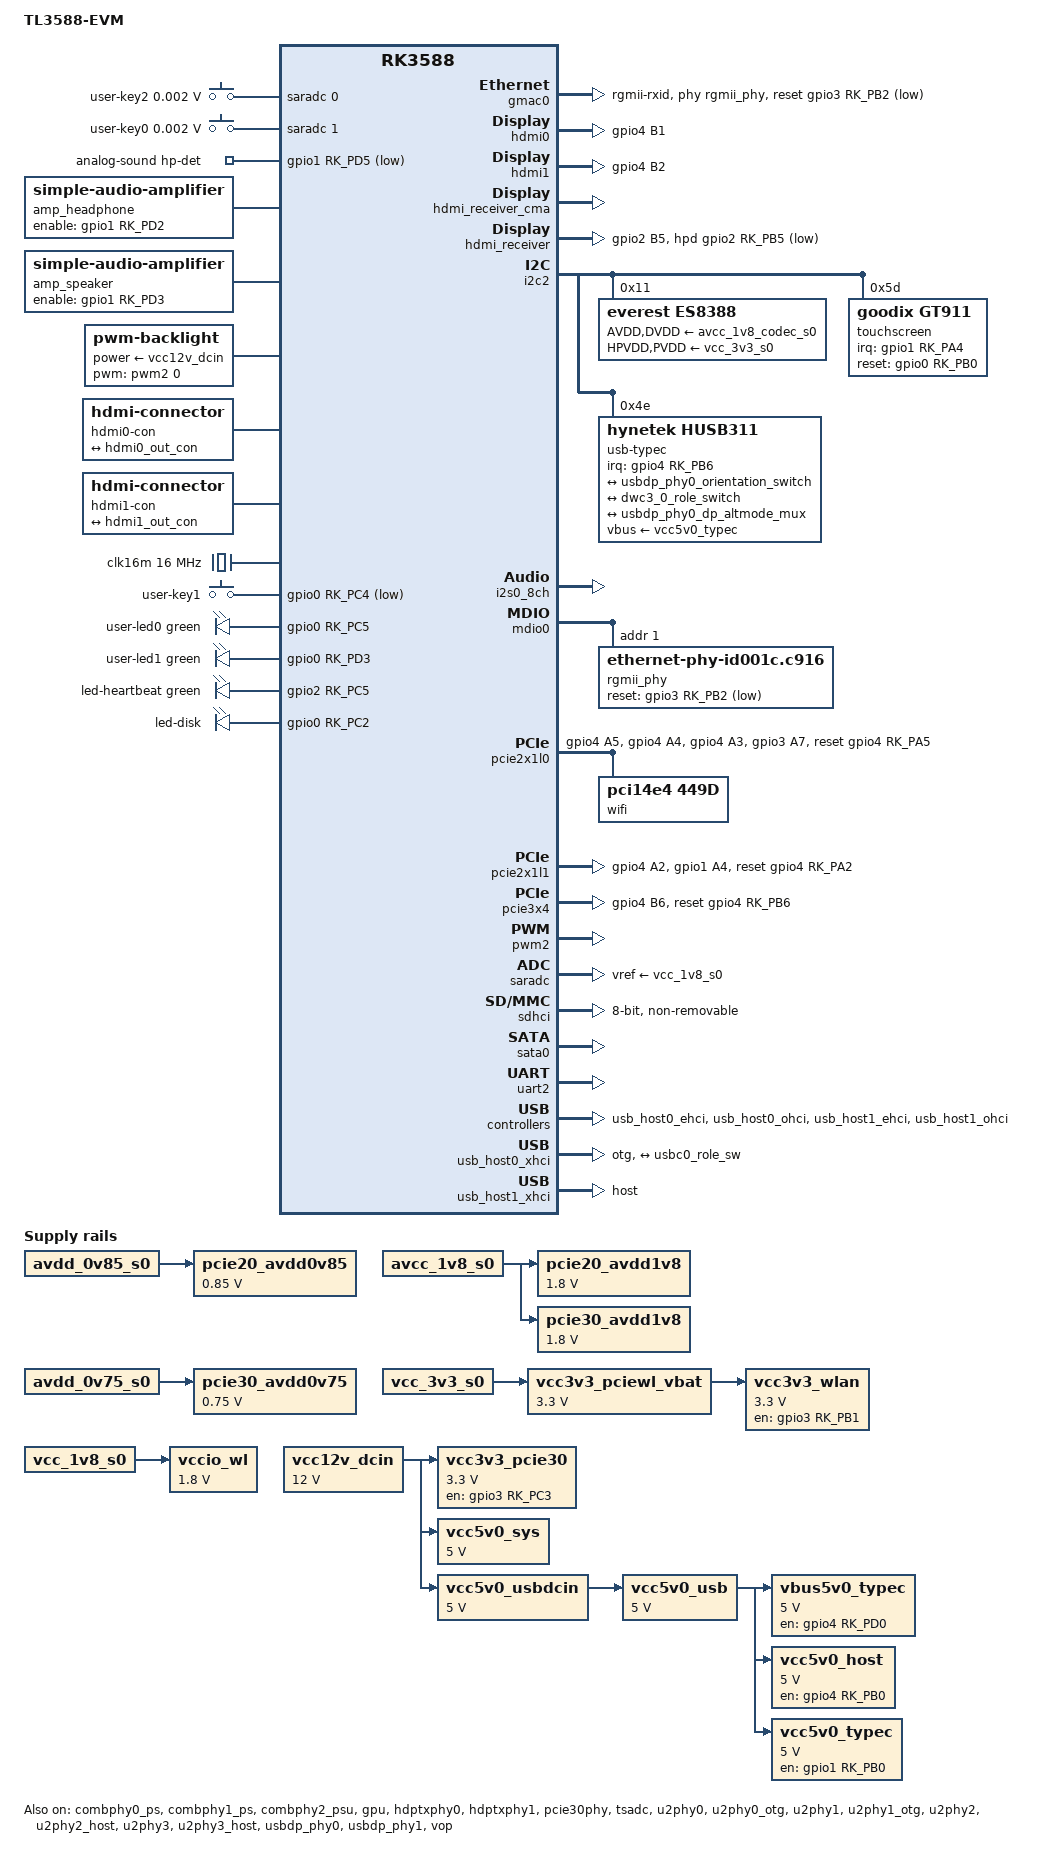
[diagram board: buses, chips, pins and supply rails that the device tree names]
// SPDX-License-Identifier: (GPL-2.0+ OR MIT)
/*
 * Copyright (c) 2021 Rockchip Electronics Co., Ltd.
 *
 */

/dts-v1/;

#include <dt-bindings/gpio/gpio.h>
#include <dt-bindings/input/input.h>
#include <dt-bindings/pinctrl/rockchip.h>
#include <dt-bindings/soc/rockchip,vop2.h>
#include <dt-bindings/usb/pd.h>
#include <dt-bindings/leds/common.h>
#include "rk3588.dtsi"

/ {
	model = "TL3588-EVM";
	compatible = "ncti,tl3588-evm", "rockchip,rk3588";

	aliases {
		ethernet0 = &gmac0;
		ethernet1 = &gmac1;
		mmc0 = &sdhci;
		serial0 = &uart0;
		serial2 = &uart2;
		serial3 = &uart3;
		serial5 = &uart5;
		serial7 = &uart7;
		serial8 = &uart8;
		serial9 = &uart9;
	};

	chosen {
		stdout-path = "serial2:1500000n8";
	};

	adc-keys1 {
		compatible = "adc-keys";
		io-channels = <&saradc 0>;
		io-channel-names = "buttons";
		keyup-threshold-microvolt = <1800000>;
		poll-interval = <100>;

		user-key2 {
			label = "user-key2";
			linux,code = <KEY_PROG3>;
			press-threshold-microvolt = <1750>;
		};
	};

	adc-keys2 {
		compatible = "adc-keys";
		io-channels = <&saradc 1>;
		io-channel-names = "buttons";
		keyup-threshold-microvolt = <1800000>;
		poll-interval = <100>;

		user-key0 {
			label = "user-key0";
			linux,code = <KEY_PROG1>;
			press-threshold-microvolt = <1750>;
		};
	};

	analog-sound {
		compatible = "simple-audio-card";
		pinctrl-names = "default";
		pinctrl-0 = <&hp_detect>;
		simple-audio-card,name = "RK3588 EVB1 Audio";
		simple-audio-card,aux-devs = <&amp_headphone>, <&amp_speaker>;
		simple-audio-card,bitclock-master = <&masterdai>;
		simple-audio-card,format = "i2s";
		simple-audio-card,frame-master = <&masterdai>;
		simple-audio-card,hp-det-gpios = <&gpio1 RK_PD5 GPIO_ACTIVE_LOW>;
		simple-audio-card,mclk-fs = <256>;
		simple-audio-card,pin-switches = "Headphones", "Speaker";
		simple-audio-card,routing =
			"Speaker Amplifier INL", "LOUT2",
			"Speaker Amplifier INR", "ROUT2",
			"Speaker", "Speaker Amplifier OUTL",
			"Speaker", "Speaker Amplifier OUTR",
			"Headphones Amplifier INL", "LOUT1",
			"Headphones Amplifier INR", "ROUT1",
			"Headphones", "Headphones Amplifier OUTL",
			"Headphones", "Headphones Amplifier OUTR",
			"LINPUT1", "Onboard Microphone",
			"RINPUT1", "Onboard Microphone",
			"LINPUT2", "Microphone Jack",
			"RINPUT2", "Microphone Jack";
		simple-audio-card,widgets =
			"Microphone", "Microphone Jack",
			"Microphone", "Onboard Microphone",
			"Headphone", "Headphones",
			"Speaker", "Speaker";

		simple-audio-card,cpu {
			sound-dai = <&i2s0_8ch>;
		};

		masterdai: simple-audio-card,codec {
			sound-dai = <&es8388>;
			system-clock-frequency = <12288000>;
		};
	};

	amp_headphone: headphone-amplifier {
		compatible = "simple-audio-amplifier";
		enable-gpios = <&gpio1 RK_PD2 GPIO_ACTIVE_HIGH>;
		pinctrl-names = "default";
		pinctrl-0 = <&headphone_amplifier_en>;
		sound-name-prefix = "Headphones Amplifier";
	};

	amp_speaker: speaker-amplifier {
		compatible = "simple-audio-amplifier";
		enable-gpios = <&gpio1 RK_PD3 GPIO_ACTIVE_HIGH>;
		pinctrl-names = "default";
		pinctrl-0 = <&speaker_amplifier_en>;
		sound-name-prefix = "Speaker Amplifier";
	};

	backlight: backlight {
		compatible = "pwm-backlight";
		power-supply = <&vcc12v_dcin>;
		pwms = <&pwm2 0 25000 0>;
	};

	hdmi0-con {
		compatible = "hdmi-connector";
		type = "a";

		port {
			hdmi0_con_in: endpoint {
				remote-endpoint = <&hdmi0_out_con>;
			};
		};
	};

	hdmi1-con {
		compatible = "hdmi-connector";
		type = "a";

		port {
			hdmi1_con_in: endpoint {
				remote-endpoint = <&hdmi1_out_con>;
			};
		};
	};

	pcie20_avdd0v85: regulator-pcie20-avdd0v85 {
		compatible = "regulator-fixed";
		regulator-name = "pcie20_avdd0v85";
		regulator-always-on;
		regulator-boot-on;
		regulator-min-microvolt = <850000>;
		regulator-max-microvolt = <850000>;
		vin-supply = <&avdd_0v85_s0>;
	};

	pcie20_avdd1v8: regulator-pcie20-avdd1v8 {
		compatible = "regulator-fixed";
		regulator-name = "pcie20_avdd1v8";
		regulator-always-on;
		regulator-boot-on;
		regulator-min-microvolt = <1800000>;
		regulator-max-microvolt = <1800000>;
		vin-supply = <&avcc_1v8_s0>;
	};

	pcie30_avdd0v75: regulator-pcie30-avdd0v75 {
		compatible = "regulator-fixed";
		regulator-name = "pcie30_avdd0v75";
		regulator-always-on;
		regulator-boot-on;
		regulator-min-microvolt = <750000>;
		regulator-max-microvolt = <750000>;
		vin-supply = <&avdd_0v75_s0>;
	};

	pcie30_avdd1v8: regulator-pcie30-avdd1v8 {
		compatible = "regulator-fixed";
		regulator-name = "pcie30_avdd1v8";
		regulator-always-on;
		regulator-boot-on;
		regulator-min-microvolt = <1800000>;
		regulator-max-microvolt = <1800000>;
		vin-supply = <&avcc_1v8_s0>;
	};

	vbus5v0_typec: regulator-vbus5v0-typec {
		compatible = "regulator-fixed";
		enable-active-high;
		gpio = <&gpio4 RK_PD0 GPIO_ACTIVE_HIGH>;
		pinctrl-names = "default";
		pinctrl-0 = <&typec5v_pwren>;
		regulator-name = "vbus5v0_typec";
		regulator-min-microvolt = <5000000>;
		regulator-max-microvolt = <5000000>;
		vin-supply = <&vcc5v0_usb>;
	};

	vcc12v_dcin: regulator-vcc12v-dcin {
		compatible = "regulator-fixed";
		regulator-name = "vcc12v_dcin";
		regulator-always-on;
		regulator-boot-on;
		regulator-min-microvolt = <12000000>;
		regulator-max-microvolt = <12000000>;
	};

	vcc3v3_pcie30: regulator-vcc3v3-pcie30 {
		compatible = "regulator-fixed";
		regulator-name = "vcc3v3_pcie30";
		regulator-min-microvolt = <3300000>;
		regulator-max-microvolt = <3300000>;
		enable-active-high;
		gpios = <&gpio3 RK_PC3 GPIO_ACTIVE_HIGH>;
		startup-delay-us = <5000>;
		vin-supply = <&vcc12v_dcin>;
		pinctrl-names = "default";
		pinctrl-0 = <&vcc3v3_pcie30_en>;
	};

	vcc3v3_pciewl_vbat: regulator-vcc3v3-pciewl-vbat {
		compatible = "regulator-fixed";
		regulator-always-on;
		regulator-boot-on;
		regulator-min-microvolt = <3300000>;
		regulator-max-microvolt = <3300000>;
		regulator-name = "wlan-vbat";
		vin-supply = <&vcc_3v3_s0>;
	};

	vcc3v3_wlan: regulator-vcc3v3-wlan {
		compatible = "regulator-fixed";
		enable-active-high;
		gpios = <&gpio3 RK_PB1 GPIO_ACTIVE_HIGH>;
		pinctrl-names = "default";
		pinctrl-0 = <&wifi_pwren>;
		regulator-min-microvolt = <3300000>;
		regulator-max-microvolt = <3300000>;
		regulator-name = "wlan-en";
		vin-supply = <&vcc3v3_pciewl_vbat>;
	};

	vcc5v0_host: regulator-vcc5v0-host {
		compatible = "regulator-fixed";
		regulator-name = "vcc5v0_host";
		regulator-boot-on;
		regulator-always-on;
		regulator-min-microvolt = <5000000>;
		regulator-max-microvolt = <5000000>;
		enable-active-high;
		gpio = <&gpio4 RK_PB0 GPIO_ACTIVE_HIGH>;
		pinctrl-names = "default";
		pinctrl-0 = <&vcc5v0_host_en>;
		vin-supply = <&vcc5v0_usb>;
	};

	clk16m: clk16m {
		compatible = "fixed-clock";
		#clock-cells = <0>;
		clock-frequency = <16000000>;
	};

	gpio-keys {
		compatible = "gpio-keys";
		pinctrl-names = "default";
		pinctrl-0 = <&user_key_pin>;

		user-key1 {
			label = "user-key1";
			linux,code = <KEY_PROG2>;
			gpios = <&gpio0 RK_PC4 GPIO_ACTIVE_LOW>;
		};
	};

	leds {
		compatible = "gpio-leds";

		user-led0 {
			function = LED_FUNCTION_INDICATOR;
			color = <LED_COLOR_ID_GREEN>;
			gpios = <&gpio0 RK_PC5 GPIO_ACTIVE_HIGH>;
			pinctrl-names = "default";
			pinctrl-0 = <&user_led0_pin>;
			default-state = "off";
		};

		user-led1 {
			function = LED_FUNCTION_INDICATOR;
			color = <LED_COLOR_ID_GREEN>;
			gpios = <&gpio0 RK_PD3 GPIO_ACTIVE_HIGH>;
			pinctrl-names = "default";
			pinctrl-0 = <&user_led1_pin>;
			default-state = "off";
		};

		led-heartbeat {
			function = LED_FUNCTION_HEARTBEAT;
			color = <LED_COLOR_ID_GREEN>;
			gpios = <&gpio2 RK_PC5 GPIO_ACTIVE_HIGH>;
			linux,default-trigger = "heartbeat";
		};

		led-disk {
			function = LED_FUNCTION_DISK;
			gpios = <&gpio0 RK_PC2 GPIO_ACTIVE_HIGH>;
			linux,default-trigger = "mmc0";
		};
	};

	vcc5v0_typec: regulator-vcc5v0-typec {
		compatible = "regulator-fixed";
		regulator-name = "vcc5v0_typec";
		regulator-min-microvolt = <5000000>;
		regulator-max-microvolt = <5000000>;
		enable-active-high;
		gpio = <&gpio1 RK_PB0 GPIO_ACTIVE_HIGH>;
		vin-supply = <&vcc5v0_usb>;
		pinctrl-names = "default";
		pinctrl-0 = <&vcc5v0_typec_enable>;
	};

	vcc5v0_sys: regulator-vcc5v0-sys {
		compatible = "regulator-fixed";
		regulator-name = "vcc5v0_sys";
		regulator-always-on;
		regulator-boot-on;
		regulator-min-microvolt = <5000000>;
		regulator-max-microvolt = <5000000>;
		vin-supply = <&vcc12v_dcin>;
	};

	vcc5v0_usbdcin: regulator-vcc5v0-usbdcin {
		compatible = "regulator-fixed";
		regulator-name = "vcc5v0_usbdcin";
		regulator-always-on;
		regulator-boot-on;
		regulator-min-microvolt = <5000000>;
		regulator-max-microvolt = <5000000>;
		vin-supply = <&vcc12v_dcin>;
	};

	vcc5v0_usb: regulator-vcc5v0-usb {
		compatible = "regulator-fixed";
		regulator-name = "vcc5v0_usb";
		regulator-always-on;
		regulator-boot-on;
		regulator-min-microvolt = <5000000>;
		regulator-max-microvolt = <5000000>;
		vin-supply = <&vcc5v0_usbdcin>;
	};

	vccio_wl: regulator-vccio-wl {
		compatible = "regulator-fixed";
		regulator-always-on;
		regulator-boot-on;
		regulator-min-microvolt = <1800000>;
		regulator-max-microvolt = <1800000>;
		regulator-name = "wlan-vddio";
		vin-supply = <&vcc_1v8_s0>;
	};
};

&combphy0_ps {
	status = "okay";
};

&combphy1_ps {
	status = "okay";
};

&combphy2_psu {
	status = "okay";
};

&cpu_b0 {
	cpu-supply = <&vdd_cpu_big0_s0>;
};

&cpu_b1 {
	cpu-supply = <&vdd_cpu_big0_s0>;
};

&cpu_b2 {
	cpu-supply = <&vdd_cpu_big1_s0>;
};

&cpu_b3 {
	cpu-supply = <&vdd_cpu_big1_s0>;
};

&cpu_l0 {
	cpu-supply = <&vdd_cpu_lit_s0>;
};

&cpu_l1 {
	cpu-supply = <&vdd_cpu_lit_s0>;
};

&cpu_l2 {
	cpu-supply = <&vdd_cpu_lit_s0>;
};

&cpu_l3 {
	cpu-supply = <&vdd_cpu_lit_s0>;
};

&gmac0 {
	clock_in_out = "output";
	phy-handle = <&rgmii_phy>;
	phy-mode = "rgmii-rxid";
	pinctrl-0 = <&gmac0_miim
		     &gmac0_tx_bus2
		     &gmac0_rx_bus2
		     &gmac0_rgmii_clk
		     &gmac0_rgmii_bus>;
	pinctrl-names = "default";
	rx_delay = <0x00>;
	tx_delay = <0x43>;
	snps,reset-gpio = <&gpio3 RK_PB2 GPIO_ACTIVE_LOW>;
	snps,reset-delays-us = <20000 20000 100000>;
	snps,reset-active-low;
	status = "okay";
};

&gpu {
	mali-supply = <&vdd_gpu_s0>;
	sram-supply = <&vdd_gpu_mem_s0>;
	status = "okay";
};

&hdmi0 {
	frl-enable-gpios = <&gpio4 RK_PB1 GPIO_ACTIVE_LOW>;
	pinctrl-0 = <&hdmim0_tx0_cec &hdmim0_tx0_hpd
		     &hdmim0_tx0_scl &hdmim0_tx0_sda &hdmi0_tx_on_h>;
	pinctrl-names = "default";
	status = "okay";
};

&hdmi0_in {
	hdmi0_in_vp0: endpoint {
		remote-endpoint = <&vp0_out_hdmi0>;
	};
};

&hdmi0_out {
	hdmi0_out_con: endpoint {
		remote-endpoint = <&hdmi0_con_in>;
	};
};

&hdmi1 {
	frl-enable-gpios = <&gpio4 RK_PB2 GPIO_ACTIVE_LOW>;
	pinctrl-0 = <&hdmim2_tx1_cec &hdmim0_tx1_hpd
		     &hdmim1_tx1_scl &hdmim1_tx1_sda &hdmi1_tx_on_h>;
	pinctrl-names = "default";
	status = "okay";
};

&hdmi1_in {
	hdmi1_in_vp1: endpoint {
		remote-endpoint = <&vp1_out_hdmi1>;
	};
};

&hdmi1_out {
	hdmi1_out_con: endpoint {
		remote-endpoint = <&hdmi1_con_in>;
	};
};

&hdmi_receiver_cma {
	status = "okay";
};

&hdmi_receiver {
	hpd-gpios = <&gpio2 RK_PB5 GPIO_ACTIVE_LOW>;
	pinctrl-0 = <&hdmim1_rx_cec &hdmim1_rx_hpdin &hdmim1_rx_scl &hdmim1_rx_sda &hdmirx_hpd>;
	pinctrl-names = "default";
	status = "okay";
};

&hdptxphy0 {
	status = "okay";
};

&hdptxphy1 {
	status = "okay";
};

&i2c2 {
	status = "okay";

	es8388: audio-codec@11 {
		compatible = "everest,es8388", "everest,es8328";
		reg = <0x11>;
		#sound-dai-cells = <0>;
		clocks = <&cru I2S0_8CH_MCLKOUT>;
		clock-names = "mclk";
		assigned-clocks = <&cru I2S0_8CH_MCLKOUT>;
		assigned-clock-rates = <12288000>;
		AVDD-supply = <&avcc_1v8_codec_s0>;
		DVDD-supply = <&avcc_1v8_codec_s0>;
		HPVDD-supply = <&vcc_3v3_s0>;
		PVDD-supply = <&vcc_3v3_s0>;
		status = "okay";
	};

	touchscreen@5d {
		compatible = "goodix,gt911";
		reg = <0x5d>;
		interrupt-parent = <&gpio1>;
		interrupts = <RK_PA4 IRQ_TYPE_EDGE_FALLING>;
		irq-gpios = <&gpio1 RK_PA4 GPIO_ACTIVE_HIGH>;
		reset-gpios = <&gpio0 RK_PB0 GPIO_ACTIVE_HIGH>;
		status = "okay";
	};

	usb-typec@4e {
		compatible = "hynetek,husb311";
		reg = <0x4e>;
		interrupt-parent = <&gpio4>;
		interrupts = <RK_PB6 IRQ_TYPE_LEVEL_LOW>;
		pinctrl-names = "default";
		pinctrl-0 = <&typec_int>;
		vbus-supply = <&vcc5v0_typec>;
		status = "okay";

		usb_con: connector {
			compatible = "usb-c-connector";
			label = "USB-C";
			data-role = "dual";
			power-role = "dual";
			try-power-role = "sink";
			op-sink-microwatt = <1000000>;
			sink-pdos =
				<PDO_FIXED(5000, 1000, PDO_FIXED_USB_COMM)>;
			source-pdos =
				<PDO_FIXED(5000, 3000, PDO_FIXED_USB_COMM)>;

			ports {
				#address-cells = <1>;
				#size-cells = <0>;

				port@0 {
					reg = <0>;
					typec_orien_sw: endpoint {
						remote-endpoint = <&usbdp_phy0_orientation_switch>;
					};
				};

				port@1 {
					reg = <1>;
					typec_role_sw: endpoint {
						remote-endpoint = <&dwc3_0_role_switch>;
					};
				};

				port@2 {
					reg = <2>;
					dp_altmode_mux: endpoint {
						remote-endpoint = <&usbdp_phy0_dp_altmode_mux>;
					};
				};
			};
		};
	};
};
&i2c7 {
	status = "disabled";
};

&i2s0_8ch {
	pinctrl-0 = <&i2s0_lrck
		     &i2s0_mclk
		     &i2s0_sclk
		     &i2s0_sdi0
		     &i2s0_sdo0>;
	pinctrl-names = "default";
	status = "okay";
};

&mdio0 {
	rgmii_phy: ethernet-phy@1 {
		/* RTL8211F */
		compatible = "ethernet-phy-id001c.c916";
		reg = <0x1>;
		pinctrl-names = "default";
		pinctrl-0 = <&gmac0_phy_reset>;
		reset-assert-us = <20000>;
		reset-deassert-us = <100000>;
		reset-gpios = <&gpio3 RK_PB2 GPIO_ACTIVE_LOW>;
	};
};

&pcie2x1l0 {
	status = "disabled";
	pinctrl-names = "default";
	pinctrl-0 = <&pcie2_0_rst>, <&pcie2_0_wake>, <&pcie2_0_clkreq>, <&wifi_host_wake_irq>;
	reset-gpios = <&gpio4 RK_PA5 GPIO_ACTIVE_HIGH>;
	supports-clkreq;
	status = "okay";

	pcie@0,0 {
		reg = <0x200000 0 0 0 0>;
		#address-cells = <3>;
		#size-cells = <2>;
		ranges;
		device_type = "pci";
		bus-range = <0x20 0x2f>;

		wifi: wifi@0,0 {
			compatible = "pci14e4,449d";
			reg = <0x210000 0 0 0 0>;
			clocks = <&hym8563>;
			clock-names = "lpo";
		};
	};
};

&pcie2x1l1 {
	reset-gpios = <&gpio4 RK_PA2 GPIO_ACTIVE_HIGH>;
	pinctrl-names = "default";
	pinctrl-0 = <&pcie2_1_rst>, <&rtl8111_isolate>, <&pcie30x1m1_1_clkreqn>;
	supports-clkreq;
	status = "okay";
};

&pcie30phy {
	status = "okay";
};

&pcie3x4 {
	pinctrl-names = "default";
	pinctrl-0 = <&pcie3_reset>, <&pcie30x4m1_clkreqn>;
	supports-clkreq;
	reset-gpios = <&gpio4 RK_PB6 GPIO_ACTIVE_HIGH>;
	status = "okay";
};

&pd_gpu {
	domain-supply = <&vdd_gpu_s0>;
};

&pd_rkvdec0 {
	domain-supply = <&vdd_vdenc_s0>;
};

&pd_rkvdec1 {
	domain-supply = <&vdd_vdenc_s0>;
};

&pd_venc0 {
	domain-supply = <&vdd_vdenc_s0>;
};

&pd_venc1 {
	domain-supply = <&vdd_vdenc_s0>;
};

&pinctrl {
	audio {
		hp_detect: headphone-detect {
			rockchip,pins = <1 RK_PD5 RK_FUNC_GPIO &pcfg_pull_none>;
		};

		headphone_amplifier_en: headphone-amplifier-en {
			rockchip,pins = <1 RK_PD2 RK_FUNC_GPIO &pcfg_pull_none>;
		};

		speaker_amplifier_en: speaker-amplifier-en {
			rockchip,pins = <1 RK_PD3 RK_FUNC_GPIO &pcfg_pull_none>;
		};
	};

	rtl8111 {
		rtl8111_isolate: rtl8111-isolate {
			rockchip,pins = <1 RK_PA4 RK_FUNC_GPIO &pcfg_pull_up>;
		};
	};

	rtl8211f {
		rtl8211f_rst: rtl8211f-rst {
			rockchip,pins = <4 RK_PB3 RK_FUNC_GPIO &pcfg_pull_none>;
		};

	};

	hdmi {
		hdmi0_tx_on_h: hdmi0-tx-on-h {
			rockchip,pins = <4 RK_PB1 RK_FUNC_GPIO &pcfg_pull_none>;
		};

		hdmi1_tx_on_h: hdmi1-tx-on-h {
			rockchip,pins = <4 RK_PB2 RK_FUNC_GPIO &pcfg_pull_none>;
		};
	};

	hdmirx {
		hdmirx_hpd: hdmirx-5v-detection {
			rockchip,pins = <2 RK_PB5 RK_FUNC_GPIO &pcfg_pull_none>;
		};
	};

	hym8563 {
		hym8563_int: hym8563-int {
			rockchip,pins = <0 RK_PD4 RK_FUNC_GPIO &pcfg_pull_up>;
		};
	};

	pcie2 {
		pcie2_0_rst: pcie2-0-rst {
			rockchip,pins = <4 RK_PA5 RK_FUNC_GPIO &pcfg_pull_none>;
		};

		pcie2_0_wake: pcie2-0-wake {
			rockchip,pins = <4 RK_PA4 4 &pcfg_pull_none>;
		};

		pcie2_0_clkreq: pcie2-0-clkreq {
			rockchip,pins = <4 RK_PA3 4 &pcfg_pull_none>;
		};

		pcie2_1_rst: pcie2-1-rst {
			rockchip,pins = <4 RK_PA2 RK_FUNC_GPIO &pcfg_pull_none>;
		};
	};

	pcie3 {
		pcie3_reset: pcie3-reset {
			rockchip,pins = <4 RK_PB6 RK_FUNC_GPIO &pcfg_pull_none>;
		};

		vcc3v3_pcie30_en: vcc3v3-pcie30-en {
			rockchip,pins = <3 RK_PC3 RK_FUNC_GPIO &pcfg_pull_none>;
		};
	};

	usb {
		vcc5v0_host_en: vcc5v0-host-en {
			rockchip,pins = <4 RK_PB0 RK_FUNC_GPIO &pcfg_pull_none>;
		};
	};

	usb-typec {
		typec5v_pwren: typec5v-pwren {
			rockchip,pins = <4 RK_PD0 RK_FUNC_GPIO &pcfg_pull_none>;
		};

		usbc0_int: usbc0-int {
			rockchip,pins = <3 RK_PB4 RK_FUNC_GPIO &pcfg_pull_up>;
		};
	};

	wlan {
		wifi_host_wake_irq: wifi-host-wake-irq {
			rockchip,pins = <3 RK_PA7 RK_FUNC_GPIO &pcfg_pull_down>;
		};

		wifi_pwren: wifi-pwren {
			rockchip,pins = <3 RK_PB1 RK_FUNC_GPIO &pcfg_pull_up>;
		};
	};
	gpio-leds {
		user_led0_pin: user-led0-pin {
			rockchip,pins = <0 RK_PC5 RK_FUNC_GPIO &pcfg_pull_none>;
		};

		user_led1_pin: user-led1-pin {
			rockchip,pins = <0 RK_PD3 RK_FUNC_GPIO &pcfg_pull_none>;
		};
	};

	gpio-keys {
		user_key_pin: user-key-pin {
			rockchip,pins = <0 RK_PC4 RK_FUNC_GPIO &pcfg_pull_none>;
		};
	};

	gmac0-phy-reset {
		gmac0_phy_reset: gmac0-phy-reset {
			rockchip,pins = <3 RK_PB2 RK_FUNC_GPIO &pcfg_pull_none>;
		};
	};

	gmac1-phy-reset {
		gmac1_phy_reset: gmac1-phy-reset {
			rockchip,pins = <3 RK_PB6 RK_FUNC_GPIO &pcfg_pull_none>;
		};
	};

	typec-dp {
		vcc5v0_typec_enable: vcc5v0-typec-enable {
			rockchip,pins = <1 RK_PB0 RK_FUNC_GPIO &pcfg_pull_none>;
		};

		typec_int: typec-int {
			rockchip,pins = <4 RK_PB6 RK_FUNC_GPIO &pcfg_pull_up>;
		};
	};

	xl2515 {
		xl2515_int0: xl2515-int0 {
			rockchip,pins = <4 RK_PB5 RK_FUNC_GPIO &pcfg_pull_none>;
		};

		xl2515_int1: xl2515-int1 {
			rockchip,pins = <3 RK_PD2 RK_FUNC_GPIO &pcfg_pull_none>;
		};
	};

	rs485-uart8 {
		uart8_re: uart8-re {
			rockchip,pins = <4 RK_PB2 RK_FUNC_GPIO &pcfg_pull_none>;
		};

		uart8_de: uart8-de {
			rockchip,pins = <1 RK_PA7 RK_FUNC_GPIO &pcfg_pull_none>;
		};
	};

	rs485-uart9 {
		uart9_re: uart9-re {
			rockchip,pins = <3 RK_PC7 RK_FUNC_GPIO &pcfg_pull_none>;
		};

		uart9_de: uart9-de {
			rockchip,pins = <3 RK_PD0 RK_FUNC_GPIO &pcfg_pull_none>;
		};
	};
};

&pwm2 {
	status = "okay";
};

&saradc {
	vref-supply = <&vcc_1v8_s0>;
	status = "okay";
};

&sdhci {
	bus-width = <8>;
	no-sdio;
	no-sd;
	non-removable;
	mmc-hs400-1_8v;
	mmc-hs400-enhanced-strobe;
	status = "okay";
};


&sata0 {
	status = "okay";
};

&tsadc {
	status = "okay";
};

&u2phy0 {
	status = "okay";
};

&u2phy0_otg {
	status = "okay";
};

&u2phy1 {
	status = "okay";
};

&u2phy1_otg {
	status = "okay";
};

&u2phy2 {
	status = "okay";
};

&u2phy2_host {
	phy-supply = <&vcc5v0_host>;
	status = "okay";
};

&u2phy3 {
	status = "okay";
};

&u2phy3_host {
	phy-supply = <&vcc5v0_host>;
	status = "okay";
};

&uart2 {
	pinctrl-0 = <&uart2m0_xfer>;
	pinctrl-names = "default";
	status = "okay";
};

&usb_host0_ehci {
	status = "okay";
};

&usb_host0_ohci {
	status = "okay";
};

&usb_host1_ehci {
	status = "okay";
};

&usb_host1_ohci {
	status = "okay";
};

&usbdp_phy0 {
	mode-switch;
	orientation-switch;
	sbu1-dc-gpios = <&gpio4 RK_PA6 GPIO_ACTIVE_HIGH>;
	sbu2-dc-gpios = <&gpio4 RK_PA7 GPIO_ACTIVE_HIGH>;
	status = "okay";

	port {
		#address-cells = <1>;
		#size-cells = <0>;

		usbdp_phy0_orientation_switch: endpoint@0 {
			reg = <0>;
			remote-endpoint = <&usbc0_orien_sw>;
		};

		usbdp_phy0_dp_altmode_mux: endpoint@1 {
			reg = <1>;
			remote-endpoint = <&dp_altmode_mux>;
		};
	};
};

&usbdp_phy1 {
	/*
	 * USBDP PHY1 is wired to a female USB3 Type-A connector. Additionally
	 * the differential pairs 2+3 and the aux channel are wired to a RTD2166,
	 * which converts the DP signal into VGA. This is exposed on the
	 * board via a female VGA connector.
	 */
	rockchip,dp-lane-mux = <2 3>;
	status = "okay";
};

&usb_host0_xhci {
	dr_mode = "otg";
	usb-role-switch;
	status = "okay";

	port {
		#address-cells = <1>;
		#size-cells = <0>;

		dwc3_0_role_switch: endpoint@0 {
			reg = <0>;
			remote-endpoint = <&usbc0_role_sw>;
		};
	};
};

&usb_host1_xhci {
	dr_mode = "host";
	status = "okay";
};

&vop {
	status = "okay";
};

&vop_mmu {
	status = "okay";
};

&vp0 {
	vp0_out_hdmi0: endpoint@ROCKCHIP_VOP2_EP_HDMI0 {
		reg = <ROCKCHIP_VOP2_EP_HDMI0>;
		remote-endpoint = <&hdmi0_in_vp0>;
	};
};

&vp1 {
	vp1_out_hdmi1: endpoint@ROCKCHIP_VOP2_EP_HDMI1 {
		reg = <ROCKCHIP_VOP2_EP_HDMI1>;
		remote-endpoint = <&hdmi1_in_vp1>;
	};
};
